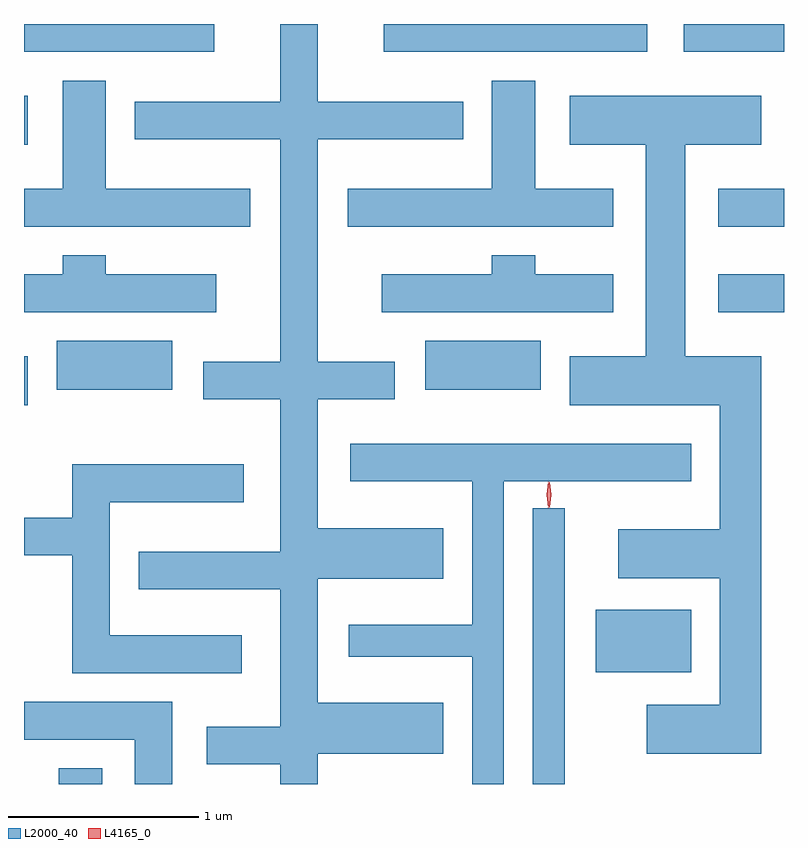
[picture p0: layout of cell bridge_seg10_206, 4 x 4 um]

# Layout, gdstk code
import gdstk
lib = gdstk.Library(unit=1e-6, precision=1e-09)
def R(c, l, rs):  # rectangles x0, y0, x1, y1
    for r in rs: c.add(gdstk.rectangle(r[:2], r[2:], *l))
def P(c, l, *ps):  # polygons
    for p in ps: c.add(gdstk.Polygon(p, *l))
L2000_40 = (2000, 40)
L4165_0 = (4165, 0)

bridge_seg10_206 = lib.new_cell('bridge_seg10_206')
R(bridge_seg10_206, L2000_40, [(1732.626,2140.722,1732.854,2140.804), (1735.121,2140.722,1735.289,2142.173), (1735.451,2141.311,1735.954,2141.639), (1732.443,2142.716,1732.464,2142.974), (1732.616,2142.796,1733.224,2143.054), (1734.556,2142.796,1735.164,2143.054), (1736.096,2143.206,1736.443,2143.404), (1736.096,2143.656,1736.443,2143.854), (1732.443,2144.086,1732.464,2144.344), (1732.443,2144.576,1733.444,2144.722), (1734.336,2144.576,1735.724,2144.722), (1735.916,2144.576,1736.443,2144.722)])
P(bridge_seg10_206, L2000_40, [(1733.046,2141.944),(1733.046,2141.746),(1733.791,2141.746),(1733.791,2141.024),(1733.406,2141.024),(1733.406,2140.826),(1733.791,2140.826),(1733.791,2140.722),(1733.989,2140.722),(1733.989,2140.881),(1734.649,2140.881),(1734.649,2141.149),(1733.989,2141.149),(1733.989,2141.801),(1734.649,2141.801),(1734.649,2142.069),(1733.989,2142.069),(1733.989,2142.746),(1734.394,2142.746),(1734.394,2142.944),(1733.989,2142.944),(1733.989,2144.116),(1734.754,2144.116),(1734.754,2144.314),(1733.989,2144.314),(1733.989,2144.722),(1733.791,2144.722),(1733.791,2144.314),(1733.026,2144.314),(1733.026,2144.116),(1733.791,2144.116),(1733.791,2142.944),(1733.386,2142.944),(1733.386,2142.746),(1733.791,2142.746),(1733.791,2141.944)],
  [(1735.544,2143.854),(1735.134,2143.854),(1735.134,2144.424),(1734.906,2144.424),(1734.906,2143.854),(1734.146,2143.854),(1734.146,2143.656),(1735.544,2143.656)],
  [(1733.634,2143.854),(1732.874,2143.854),(1732.874,2144.424),(1732.646,2144.424),(1732.646,2143.854),(1732.443,2143.854),(1732.443,2143.656),(1733.634,2143.656)],
  [(1736.324,2142.974),(1735.924,2142.974),(1735.924,2144.086),(1736.324,2144.086),(1736.324,2144.344),(1735.316,2144.344),(1735.316,2144.086),(1735.716,2144.086),(1735.716,2142.974),(1735.316,2142.974),(1735.316,2142.716),(1736.106,2142.716),(1736.106,2142.064),(1735.571,2142.064),(1735.571,2141.806),(1736.106,2141.806),(1736.106,2141.139),(1735.721,2141.139),(1735.721,2140.881),(1736.324,2140.881)],
  [(1733.454,2143.404),(1732.874,2143.404),(1732.874,2143.504),(1732.646,2143.504),(1732.646,2143.404),(1732.443,2143.404),(1732.443,2143.206),(1733.454,2143.206)],
  [(1735.544,2143.404),(1735.134,2143.404),(1735.134,2143.504),(1734.906,2143.504),(1734.906,2143.404),(1734.326,2143.404),(1734.326,2143.206),(1735.544,2143.206)],
  [(1734.969,2142.316),(1735.954,2142.316),(1735.954,2142.514),(1734.161,2142.514),(1734.161,2142.316),(1734.801,2142.316),(1734.801,2141.559),(1734.153,2141.559),(1734.153,2141.391),(1734.801,2141.391),(1734.801,2140.722),(1734.969,2140.722)],
  [(1733.589,2141.504),(1732.894,2141.504),(1732.894,2142.206),(1733.599,2142.206),(1733.599,2142.404),(1732.696,2142.404),(1732.696,2142.124),(1732.443,2142.124),(1732.443,2141.926),(1732.696,2141.926),(1732.696,2141.306),(1733.589,2141.306)],
  [(1733.224,2141.154),(1732.443,2141.154),(1732.443,2140.956),(1733.026,2140.956),(1733.026,2140.722),(1733.224,2140.722)])
P(bridge_seg10_206, L4165_0, [(1735.203,2142.174),(1735.202,2142.175),(1735.193,2142.244),(1735.202,2142.313),(1735.203,2142.314),(1735.203,2142.313),(1735.213,2142.244),(1735.203,2142.175)],
  [(1735.208,2142.178),(1735.199,2142.244),(1735.208,2142.311),(1735.208,2142.311),(1735.209,2142.311),(1735.218,2142.244),(1735.209,2142.178),(1735.209,2142.178)])

lib.write_gds('bridge_seg10_206.gds')
